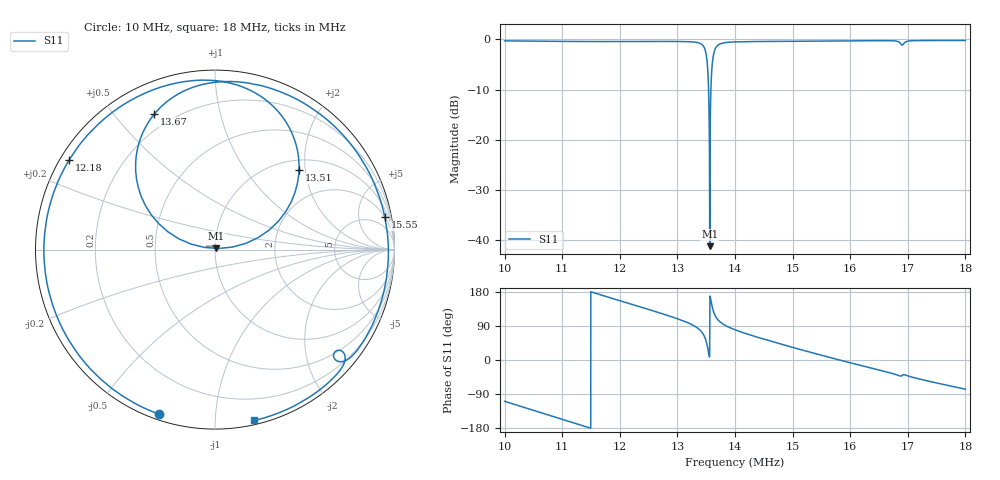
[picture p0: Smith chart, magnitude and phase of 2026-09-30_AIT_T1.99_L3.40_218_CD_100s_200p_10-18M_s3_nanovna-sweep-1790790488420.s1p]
! NanoVNA Web complex sweep
! Processing: unaveraged complex samples; linear segment spacing; no smoothing
# Hz S RI R 50
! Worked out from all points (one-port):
!   10100 points, 10 MHz to 18 MHz, reference 50 ohm
!   lowest |S11| = -41.2 dB at 13.56 MHz (marker M1), VSWR 1.02, Z = 50.6 + j0.648 ohm
!   |S11| at or under -10 dB: 13.54049 MHz to 13.58083 MHz (40.34 kHz wide, 0.298 % of centre)
!   S11 on the Smith chart (normalised r, x): 10 MHz: 0.02, -0.71; 12.18 MHz: 0.03, +0.28; 13.51 MHz: 1.22, +1.85; 13.67 MHz: 0.13, +0.64; 15.55 MHz: 2, +10; 18 MHz: 0.03, -1.26
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1e7  -0.3147 -0.9158
1.045936e7  -0.6296 -0.7283
1.10003e7  -0.8779 -0.3799
1.149688e7  -0.9536 0.000693
1.19998e7  -0.8744 0.3801
1.217562e7  -0.812 0.5004
1.30001e7  -0.3079 0.9029
1.323849e7  -0.0715 0.9443
1.33858e7  0.1618 0.9031
1.345708e7  0.3493 0.7722
1.350935e7  0.4682 0.4439
1.353153e7  0.3862 0.1997
1.356004e7  0.00596 0.00641
1.358855e7  -0.3612 0.2021
1.360835e7  -0.4396 0.4096
1.363053e7  -0.4251 0.5885
1.366617e7  -0.3372 0.7562
1.37715e7  -0.1085 0.9091
1.39996e7  0.1698 0.9302
1.447084e7  0.5299 0.7941
1.49991e7  0.8009 0.5263
1.554558e7  0.9462 0.1798
1.59994e7  0.9589 -0.1219
1.679774e7  0.7515 -0.6032
1.68801e7  0.6649 -0.6064
1.69989e7  0.7152 -0.6422
1.743292e7  0.5115 -0.8312
1.799841e7  0.2192 -0.952
